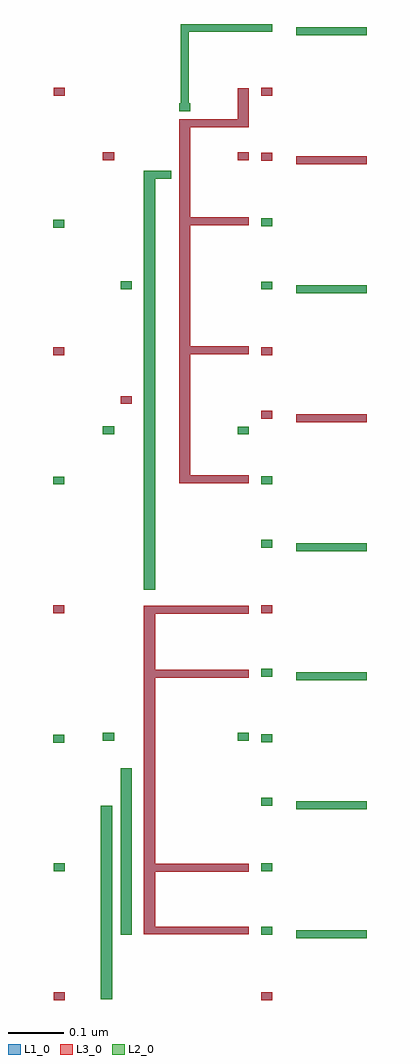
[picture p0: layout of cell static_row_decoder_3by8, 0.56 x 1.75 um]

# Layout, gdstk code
import gdstk
lib = gdstk.Library(unit=1e-6, precision=5e-10)
def R(c, l, rs):  # rectangles x0, y0, x1, y1
    for r in rs: c.add(gdstk.rectangle(r[:2], r[2:], *l))
def A(c, l, x, y, w, h, nx, ny, dx, dy):  # array of equal rectangles
    R(c, l, [(x+i*dx, y+j*dy, x+i*dx+w, y+j*dy+h) for i in range(nx) for j in range(ny)])
def P(c, l, *ps):  # polygons
    for p in ps: c.add(gdstk.Polygon(p, *l))
L1_0 = (1, 0)
L2_0 = (2, 0)
L3_0 = (3, 0)

static_row_decoder_3by8 = lib.new_cell('static_row_decoder_3by8')
A(static_row_decoder_3by8, L1_0, 0.6075, -1.294, 0.126, 0.014, 1, 8, 0, 0.231)
R(static_row_decoder_3by8, L1_0, [(0.1725,-1.405,0.1925,-1.391), (0.5445,-1.405,0.5645,-1.391), (0.2575,-1.404,0.2775,-1.0575), (0.2925,-1.2885,0.3125,-0.99), (0.5445,-1.288,0.5645,-1.274), (0.1725,-1.174,0.1925,-1.16), (0.5445,-1.174,0.5645,-1.16), (0.5445,-1.057,0.5645,-1.043), (0.172,-0.944,0.192,-0.93), (0.5445,-0.943,0.5645,-0.929), (0.261,-0.9405,0.281,-0.926), (0.5025,-0.9405,0.5225,-0.9265), (0.5445,-0.826,0.5645,-0.812), (0.172,-0.712,0.192,-0.698), (0.5445,-0.712,0.5645,-0.698), (0.5445,-0.595,0.5645,-0.581), (0.172,-0.4815,0.192,-0.4675), (0.5445,-0.481,0.5645,-0.467), (0.5025,-0.392,0.5225,-0.378), (0.261,-0.3915,0.281,-0.3775), (0.5445,-0.364,0.5645,-0.35), (0.2925,-0.3375,0.3125,-0.3235), (0.172,-0.25,0.192,-0.236), (0.5445,-0.25,0.5645,-0.236), (0.2925,-0.1325,0.3125,-0.1175), (0.5445,-0.1325,0.5645,-0.1185), (0.172,-0.0215,0.192,-0.0075), (0.5445,-0.019,0.5645,-0.005), (0.5445,0.098,0.5645,0.112), (0.261,0.099,0.281,0.113), (0.5025,0.099,0.5225,0.113), (0.1725,0.2145,0.1925,0.2285), (0.5445,0.2145,0.5645,0.2285)])
P(static_row_decoder_3by8, L1_0, [(0.5645,0.343),(0.5645,0.329),(0.4145,0.329),(0.4145,0.201),(0.4175,0.201),(0.4175,0.187),(0.4145,0.187),(0.4145,0.1865),(0.4005,0.1865),(0.4005,0.187),(0.3975,0.187),(0.3975,0.201),(0.4005,0.201),(0.4005,0.343)],
  [(0.5225,0.2275),(0.5225,0.158),(0.4175,0.158),(0.4175,-0.0035),(0.5225,-0.0035),(0.5225,-0.0175),(0.4175,-0.0175),(0.4175,-0.2345),(0.5225,-0.2345),(0.5225,-0.2485),(0.4175,-0.2485),(0.4175,-0.4655),(0.5225,-0.4655),(0.5225,-0.4795),(0.3975,-0.4795),(0.3975,0.172),(0.5025,0.172),(0.5025,0.2275)],
  [(0.3835,0.08),(0.3835,0.066),(0.3545,0.066),(0.3545,-0.67),(0.3345,-0.67),(0.3345,0.08)],
  [(0.5225,-0.699),(0.5225,-0.7135),(0.3545,-0.7135),(0.3545,-0.8135),(0.5225,-0.8135),(0.5225,-0.8275),(0.3545,-0.8275),(0.3545,-1.161),(0.5225,-1.161),(0.5225,-1.175),(0.3545,-1.175),(0.3545,-1.2735),(0.5225,-1.2735),(0.5225,-1.2875),(0.3345,-1.2875),(0.3345,-0.699)])
A(static_row_decoder_3by8, L2_0, 0.6075, -1.294, 0.126, 0.014, 1, 4, 0, 0.231)
R(static_row_decoder_3by8, L2_0, [(0.2575,-1.404,0.2775,-1.0575), (0.2925,-1.2885,0.3125,-0.99), (0.5445,-1.288,0.5645,-1.274), (0.1725,-1.174,0.1925,-1.16), (0.5445,-1.174,0.5645,-1.16), (0.5445,-1.057,0.5645,-1.043), (0.172,-0.944,0.192,-0.93), (0.5445,-0.943,0.5645,-0.929), (0.261,-0.9405,0.281,-0.926), (0.5025,-0.9405,0.5225,-0.9265), (0.5445,-0.826,0.5645,-0.812), (0.5445,-0.595,0.5645,-0.581), (0.172,-0.4815,0.192,-0.4675), (0.5445,-0.481,0.5645,-0.467), (0.5025,-0.392,0.5225,-0.378), (0.261,-0.3915,0.281,-0.3775), (0.6075,-0.139,0.7335,-0.125), (0.2925,-0.1325,0.3125,-0.1175), (0.5445,-0.1325,0.5645,-0.1185), (0.172,-0.0215,0.192,-0.0075), (0.5445,-0.019,0.5645,-0.005), (0.6075,0.323,0.7335,0.337)])
P(static_row_decoder_3by8, L2_0, [(0.5645,0.343),(0.5645,0.329),(0.4145,0.329),(0.4145,0.201),(0.4175,0.201),(0.4175,0.187),(0.4145,0.187),(0.4145,0.1865),(0.4005,0.1865),(0.4005,0.187),(0.3975,0.187),(0.3975,0.201),(0.4005,0.201),(0.4005,0.343)],
  [(0.3835,0.08),(0.3835,0.066),(0.3545,0.066),(0.3545,-0.67),(0.3345,-0.67),(0.3345,0.08)])
R(static_row_decoder_3by8, L3_0, [(0.1725,-1.405,0.1925,-1.391), (0.5445,-1.405,0.5645,-1.391), (0.172,-0.712,0.192,-0.698), (0.5445,-0.712,0.5645,-0.698), (0.6075,-0.37,0.7335,-0.356), (0.5445,-0.364,0.5645,-0.35), (0.2925,-0.3375,0.3125,-0.3235), (0.172,-0.25,0.192,-0.236), (0.5445,-0.25,0.5645,-0.236), (0.6075,0.092,0.7335,0.106), (0.5445,0.098,0.5645,0.112), (0.261,0.099,0.281,0.113), (0.5025,0.099,0.5225,0.113), (0.1725,0.2145,0.1925,0.2285), (0.5445,0.2145,0.5645,0.2285)])
P(static_row_decoder_3by8, L3_0, [(0.5225,0.2275),(0.5225,0.158),(0.4175,0.158),(0.4175,-0.0035),(0.5225,-0.0035),(0.5225,-0.0175),(0.4175,-0.0175),(0.4175,-0.2345),(0.5225,-0.2345),(0.5225,-0.2485),(0.4175,-0.2485),(0.4175,-0.4655),(0.5225,-0.4655),(0.5225,-0.4795),(0.3975,-0.4795),(0.3975,0.172),(0.5025,0.172),(0.5025,0.2275)],
  [(0.5225,-0.699),(0.5225,-0.7135),(0.3545,-0.7135),(0.3545,-0.8135),(0.5225,-0.8135),(0.5225,-0.8275),(0.3545,-0.8275),(0.3545,-1.161),(0.5225,-1.161),(0.5225,-1.175),(0.3545,-1.175),(0.3545,-1.2735),(0.5225,-1.2735),(0.5225,-1.2875),(0.3345,-1.2875),(0.3345,-0.699)])

lib.write_gds('static_row_decoder_3by8.gds')
